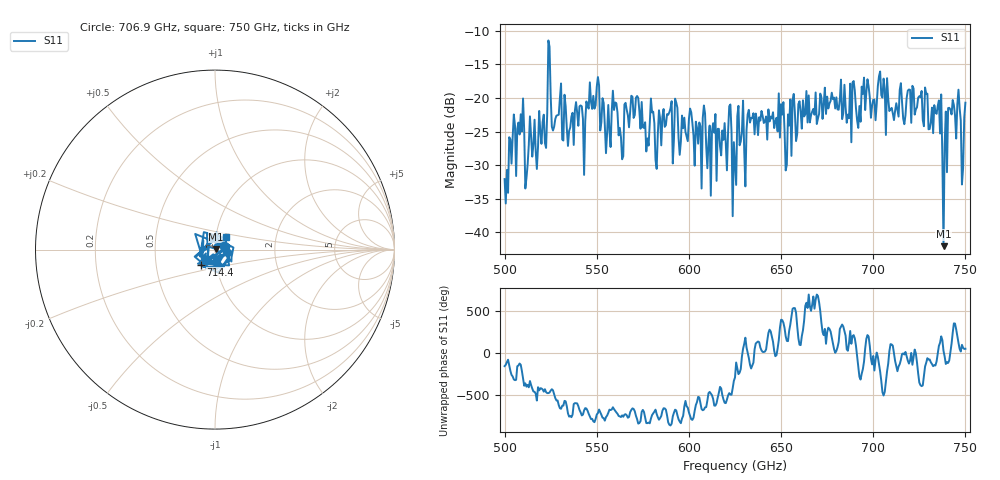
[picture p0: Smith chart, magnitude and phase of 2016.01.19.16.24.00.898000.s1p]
!Created with skrf (http://scikit-rf.org).
# GHz S RI R 50.0
!freq ReS11 ImS11
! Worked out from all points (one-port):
!   401 points, 500 GHz to 750 GHz, reference 50 ohm
!   lowest |S11| = -42.1 dB at 738.1 GHz (marker M1), VSWR 1.02, Z = 50.7 + j0.345 ohm
!   |S11| at or under -10 dB: start of sweep to end of sweep
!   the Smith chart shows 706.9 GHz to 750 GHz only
!   S11 on the Smith chart (normalised r, x): 706.9 GHz: 1.10, +0.05; 714.4 GHz: 0.84, -0.14; 750 GHz: 1.11, +0.16
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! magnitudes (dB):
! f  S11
! 500 GHz  -32.1
! 508.8 GHz  -22.4
! 511.9 GHz  -31.9
! 521.2 GHz  -22.5
! 524.4 GHz  -12.4
! 526.9 GHz  -24.3
! 531.2 GHz  -26.2
! 543.8 GHz  -23.5
! 550 GHz  -18.3
! 562.5 GHz  -24.4
! 571.9 GHz  -19.7
! 576.9 GHz  -28.0
! 593.8 GHz  -21.5
! 610.6 GHz  -26.5
! 621.9 GHz  -21.2
! 625 GHz  -29.8
! 633.1 GHz  -23.7
! 650 GHz  -20.9
! 653.1 GHz  -29.9
! 656.2 GHz  -20.3
! 687.5 GHz  -17.9
! 706.9 GHz  -25.5
! 714.4 GHz  -18.8
! 718.8 GHz  -18.9
! 735.6 GHz  -20.4
! 738.1 GHz  -42.1
! 741.9 GHz  -21.7
! 750 GHz  -20.7
